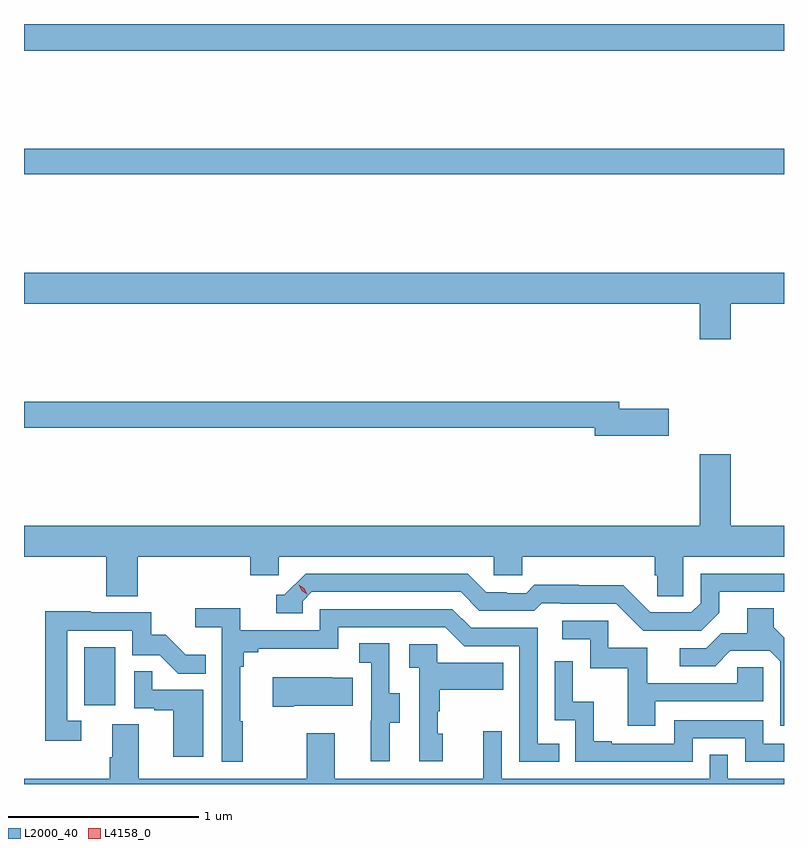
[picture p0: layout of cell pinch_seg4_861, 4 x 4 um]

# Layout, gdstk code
import gdstk
lib = gdstk.Library(unit=1e-6, precision=1e-09)
def R(c, l, rs):  # rectangles x0, y0, x1, y1
    for r in rs: c.add(gdstk.rectangle(r[:2], r[2:], *l))
def P(c, l, *ps):  # polygons
    for p in ps: c.add(gdstk.Polygon(p, *l))
L2000_40 = (2000, 40)
L4158_0 = (4158, 0)

pinch_seg4_861 = lib.new_cell('pinch_seg4_861')
R(pinch_seg4_861, L2000_40, [(833.096,806.694,833.26,807.001), (832.779,809.488,836.779,809.624), (832.779,810.14,836.779,810.28)])
P(pinch_seg4_861, L2000_40, [(836.5,808.808),(836.779,808.808),(836.779,808.972),(832.779,808.972),(832.779,808.808),(836.336,808.808),(836.336,808.62),(836.5,808.62)],
  [(836.173,808.256),(835.912,808.256),(835.912,808.292),(832.779,808.292),(832.779,808.156),(835.784,808.156),(835.784,808.114),(836.173,808.114)],
  [(833.378,807.476),(833.969,807.476),(833.969,807.378),(834.12,807.378),(834.12,807.476),(835.251,807.476),(835.251,807.378),(835.401,807.378),(835.401,807.476),(836.099,807.476),(836.099,807.378),(836.113,807.378),(836.113,807.268),(836.25,807.268),(836.25,807.476),(836.779,807.476),(836.779,807.64),(836.5,807.64),(836.5,808.015),(836.336,808.015),(836.336,807.64),(832.779,807.64),(832.779,807.476),(833.213,807.476),(833.213,807.268),(833.378,807.268)],
  [(836.437,807.181),(836.437,807.291),(836.779,807.291),(836.779,807.387),(836.34,807.387),(836.34,807.231),(836.292,807.183),(836.076,807.183),(835.934,807.325),(835.698,807.325),(835.698,807.328),(835.465,807.328),(835.423,807.285),(835.32,807.285),(835.32,807.288),(835.213,807.288),(835.114,807.387),(834.261,807.387),(834.15,807.276),(834.107,807.276),(834.107,807.18),(834.246,807.18),(834.246,807.243),(834.294,807.291),(835.077,807.291),(835.176,807.192),(835.465,807.192),(835.504,807.231),(835.603,807.231),(835.603,807.228),(835.896,807.228),(836.037,807.087),(836.343,807.087)],
  [(833.929,806.609),(833.917,806.609),(833.917,806.897),(833.936,806.897),(833.936,806.974),(834.013,806.974),(834.013,806.993),(834.432,806.993),(834.432,807.105),(834.996,807.105),(835.095,807.006),(835.386,807.006),(835.386,806.397),(835.595,806.397),(835.595,806.493),(835.482,806.493),(835.482,807.102),(835.132,807.102),(835.033,807.201),(834.336,807.201),(834.336,807.09),(833.918,807.09),(833.918,807.206),(833.679,807.206),(833.679,807.104),(833.82,807.104),(833.82,806.397),(833.929,806.397)],
  [(836.779,807.05),(836.725,807.104),(836.725,807.206),(836.585,807.206),(836.585,807.074),(836.45,807.074),(836.37,806.994),(836.229,806.994),(836.229,806.901),(836.416,806.901),(836.497,806.982),(836.703,806.982),(836.76,806.925),(836.76,806.586),(836.779,806.586)],
  [(833.08,806.613),(833.007,806.613),(833.007,807.087),(833.349,807.087),(833.349,806.958),(833.493,806.958),(833.591,806.86),(833.735,806.86),(833.735,806.959),(833.631,806.959),(833.524,807.066),(833.448,807.066),(833.448,807.183),(833.129,807.183),(833.129,807.188),(832.891,807.188),(832.891,806.508),(833.08,806.508)],
  [(836.101,806.715),(836.67,806.715),(836.67,806.895),(836.533,806.895),(836.533,806.811),(836.059,806.811),(836.059,806.997),(835.854,806.997),(835.854,807.138),(835.611,807.138),(835.611,807.042),(835.758,807.042),(835.758,806.889),(835.957,806.889),(835.957,806.586),(836.101,806.586)],
  [(834.703,806.602),(834.757,806.602),(834.757,806.757),(834.702,806.757),(834.702,807.02),(834.543,807.02),(834.543,806.917),(834.606,806.917),(834.606,806.613),(834.605,806.613),(834.605,806.4),(834.703,806.4)],
  [(834.982,806.544),(834.957,806.544),(834.957,806.663),(834.967,806.663),(834.967,806.777),(835.301,806.777),(835.301,806.917),(834.954,806.917),(834.954,807.015),(834.807,807.015),(834.807,806.891),(834.858,806.891),(834.858,806.4),(834.982,806.4)],
  [(836.298,806.52),(836.574,806.52),(836.574,806.397),(836.779,806.397),(836.779,806.493),(836.67,806.493),(836.67,806.616),(836.202,806.616),(836.202,806.493),(835.873,806.493),(835.873,806.506),(835.778,806.506),(835.778,806.714),(835.668,806.714),(835.668,806.926),(835.572,806.926),(835.572,806.616),(835.68,806.616),(835.68,806.397),(836.298,806.397)],
  [(833.722,806.775),(833.453,806.775),(833.453,806.873),(833.358,806.873),(833.358,806.679),(833.465,806.679),(833.465,806.667),(833.564,806.667),(833.564,806.424),(833.722,806.424)],
  [(834.199,806.693),(834.509,806.693),(834.509,806.839),(834.401,806.839),(834.401,806.842),(834.087,806.842),(834.087,806.686),(834.199,806.686)],
  [(836.779,806.308),(836.484,806.308),(836.484,806.435),(836.388,806.435),(836.388,806.308),(835.293,806.308),(835.293,806.557),(835.196,806.557),(835.196,806.308),(834.415,806.308),(834.415,806.548),(834.268,806.548),(834.268,806.308),(833.383,806.308),(833.383,806.594),(833.243,806.594),(833.243,806.42),(833.231,806.42),(833.231,806.308),(832.779,806.308),(832.779,806.28),(836.779,806.28)])
P(pinch_seg4_861, L4158_0, [(834.271,807.278),(834.24,807.297),(834.224,807.33),(834.224,807.33),(834.224,807.33),(834.255,807.311),(834.271,807.278),(834.271,807.278)])

lib.write_gds('pinch_seg4_861.gds')
